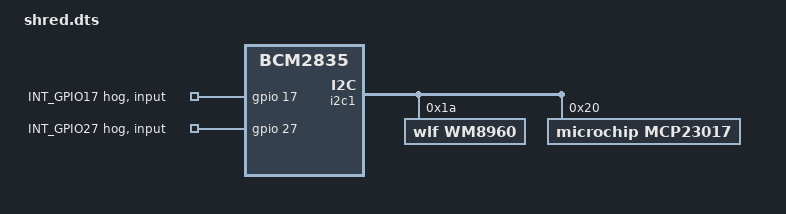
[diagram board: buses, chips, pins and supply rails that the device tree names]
/dts-v1/;
/plugin/;

/ {
    compatible = "brcm,bcm2835";

    fragment@0 {
        target = <&i2c1>;
        __overlay__ {
            status = "okay";

            wm8960: wm8960@1a {
                compatible = "wlf,wm8960";
                reg = <0x1a>;
                clocks = <&clocks 1>; // Dummy clock
                #sound-dai-cells = <0>;
            };

            mcp23017: gpioexp@20 {
                compatible = "microchip,mcp23017";
                reg = <0x20>;
                gpio-controller;
                #gpio-cells = <2>;
                interrupt-controller;
                #interrupt-cells = <2>;
            };
        };
    };

    fragment@1 {
        target-path = "/";
        __overlay__ {
            sound {
                compatible = "simple-audio-card";
                simple-audio-card,name = "shreddle";
                simple-audio-card,format = "i2s";
                simple-audio-card,bitclock-master = <&cpu_dai>;
                simple-audio-card,frame-master = <&cpu_dai>;

                simple-audio-card,cpu {
                    sound-dai = <&i2s>;
                };

                cpu_dai: simple-audio-card,codec {
                    sound-dai = <&wm8960>;
                };
            };
        };
    };

    fragment@2 {
        target = <&gpio>;
        __overlay__ {
            int1: gpio17_int {
                gpio-hog; // prevents any other use of this pin 
                gpios = <17 0>; // Interrupt 1 (Encoder Switches)
                input;
                line-name = "INT_GPIO17";
            };

            int2: gpio27_int {
                gpio-hog; // prevents any other use of this pin 
                gpios = <27 0>; // Interrupt 2 (Encoder Movement)
                input;
                line-name = "INT_GPIO27";
            };
        };
    };
};
